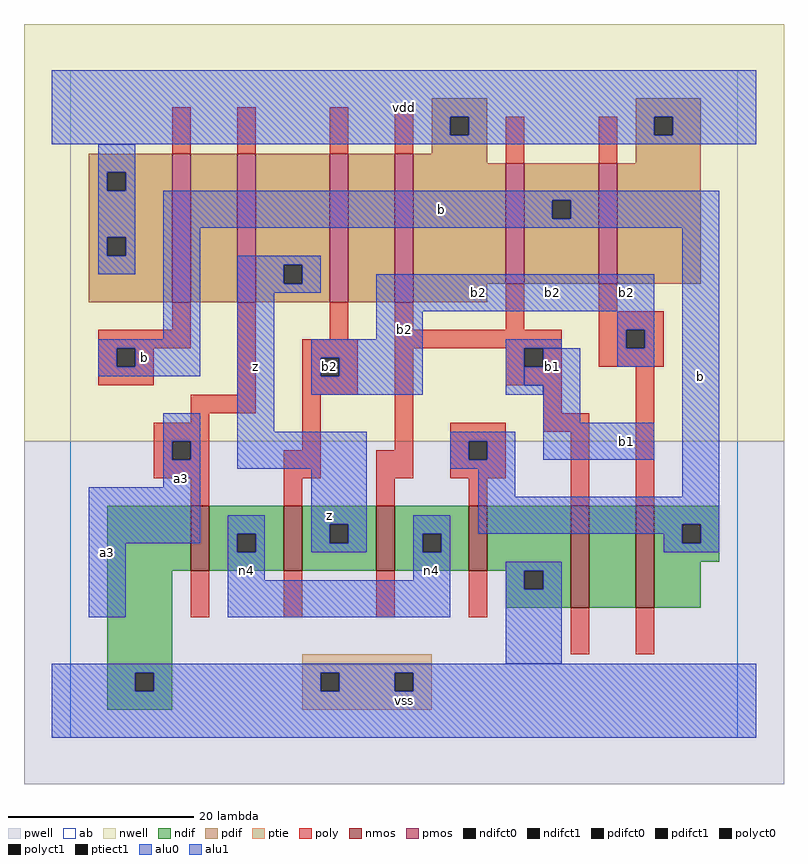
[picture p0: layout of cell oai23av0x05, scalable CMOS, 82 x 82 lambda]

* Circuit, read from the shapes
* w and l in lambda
.subckt oai23av0x05 a3 b b1 b2 n4 vdd vss z
M1 n4 a3 vss vss nfet w=7 l=2
M2 z b2 n4 vss nfet w=7 l=2
M3 n4 b1 z vss nfet w=7 l=2
M4 vss b n4 vss nfet w=7 l=2
M5 n1 b1 vss vss nfet w=11 l=2
M6 b b2 n1 vss nfet w=11 l=2
M7 n2 b vdd n3 pfet w=16 l=2
M8 z a3 n2 n3 pfet w=16 l=2
M9 n5 b2 z n3 pfet w=16 l=2
M10 vdd b1 n5 n3 pfet w=16 l=2
M11 b b1 vdd n3 pfet w=13 l=2
M12 vdd b2 b n3 pfet w=13 l=2
.ends

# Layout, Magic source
magic
tech scmos
<< ab >>
rect 0 0 72 72
<< nwell >>
rect -5 32 77 77
<< pwell >>
rect -5 -5 77 32
<< poly >>
rect 11 63 13 68
rect 18 63 20 68
rect 28 63 30 68
rect 35 63 37 68
rect 47 62 49 67
rect 57 62 59 67
rect 11 44 13 47
rect 3 42 13 44
rect 3 40 5 42
rect 7 40 9 42
rect 3 38 9 40
rect 18 37 20 47
rect 28 43 30 47
rect 35 44 37 47
rect 47 44 49 49
rect 57 46 59 49
rect 57 44 64 46
rect 13 35 20 37
rect 25 41 31 43
rect 25 39 27 41
rect 29 39 31 41
rect 25 37 31 39
rect 35 42 53 44
rect 13 34 15 35
rect 9 32 15 34
rect 9 30 11 32
rect 13 30 15 32
rect 25 31 27 37
rect 35 31 37 42
rect 47 40 49 42
rect 51 40 53 42
rect 57 42 60 44
rect 62 42 64 44
rect 57 40 64 42
rect 47 38 53 40
rect 51 35 53 38
rect 9 28 15 30
rect 13 25 15 28
rect 23 28 27 31
rect 33 28 37 31
rect 41 32 47 34
rect 51 33 56 35
rect 41 30 43 32
rect 45 30 47 32
rect 41 28 47 30
rect 23 25 25 28
rect 33 25 35 28
rect 43 25 45 28
rect 54 25 56 33
rect 61 25 63 40
rect 13 13 15 18
rect 23 13 25 18
rect 33 13 35 18
rect 43 13 45 18
rect 54 9 56 14
rect 61 9 63 14
<< ndif >>
rect 4 18 13 25
rect 15 22 23 25
rect 15 20 18 22
rect 20 20 23 22
rect 15 18 23 20
rect 25 23 33 25
rect 25 21 28 23
rect 30 21 33 23
rect 25 18 33 21
rect 35 22 43 25
rect 35 20 38 22
rect 40 20 43 22
rect 35 18 43 20
rect 45 18 54 25
rect 4 7 11 18
rect 47 16 49 18
rect 51 16 54 18
rect 47 14 54 16
rect 56 14 61 25
rect 63 23 70 25
rect 63 21 66 23
rect 68 21 70 23
rect 63 19 70 21
rect 63 14 68 19
rect 4 5 7 7
rect 9 5 11 7
rect 4 3 11 5
<< pdif >>
rect 39 67 45 69
rect 61 67 68 69
rect 39 65 41 67
rect 43 65 45 67
rect 39 63 45 65
rect 2 61 11 63
rect 2 59 4 61
rect 6 59 11 61
rect 2 54 11 59
rect 2 52 4 54
rect 6 52 11 54
rect 2 47 11 52
rect 13 47 18 63
rect 20 51 28 63
rect 20 49 23 51
rect 25 49 28 51
rect 20 47 28 49
rect 30 47 35 63
rect 37 62 45 63
rect 61 65 63 67
rect 65 65 68 67
rect 61 62 68 65
rect 37 49 47 62
rect 49 58 57 62
rect 49 56 52 58
rect 54 56 57 58
rect 49 49 57 56
rect 59 49 68 62
rect 37 47 45 49
<< alu1 >>
rect -2 67 74 72
rect -2 65 41 67
rect 43 65 63 67
rect 65 65 74 67
rect -2 64 74 65
rect 18 51 27 52
rect 18 49 23 51
rect 25 49 27 51
rect 18 48 27 49
rect 10 32 14 35
rect 10 30 11 32
rect 13 30 14 32
rect 10 27 14 30
rect 18 33 22 48
rect 33 46 63 50
rect 33 43 38 46
rect 59 44 63 46
rect 26 41 38 43
rect 26 39 27 41
rect 29 39 38 41
rect 26 37 38 39
rect 59 42 60 44
rect 62 42 63 44
rect 51 40 55 42
rect 59 40 63 42
rect 49 38 55 40
rect 51 34 55 38
rect 18 29 32 33
rect 51 30 63 34
rect 2 21 14 27
rect 2 13 6 21
rect 26 23 32 29
rect 26 21 28 23
rect 30 21 32 23
rect 26 20 32 21
rect -2 7 74 8
rect -2 5 7 7
rect 9 5 27 7
rect 29 5 35 7
rect 37 5 74 7
rect -2 0 74 5
<< ptie >>
rect 25 7 39 9
rect 25 5 27 7
rect 29 5 35 7
rect 37 5 39 7
rect 25 3 39 5
<< nmos >>
rect 13 18 15 25
rect 23 18 25 25
rect 33 18 35 25
rect 43 18 45 25
rect 54 14 56 25
rect 61 14 63 25
<< pmos >>
rect 11 47 13 63
rect 18 47 20 63
rect 28 47 30 63
rect 35 47 37 63
rect 47 49 49 62
rect 57 49 59 62
<< polyct0 >>
rect 5 40 7 42
rect 43 30 45 32
<< polyct1 >>
rect 27 39 29 41
rect 11 30 13 32
rect 49 40 51 42
rect 60 42 62 44
<< ndifct0 >>
rect 18 20 20 22
rect 38 20 40 22
rect 49 16 51 18
rect 66 21 68 23
<< ndifct1 >>
rect 28 21 30 23
rect 7 5 9 7
<< ptiect1 >>
rect 27 5 29 7
rect 35 5 37 7
<< pdifct0 >>
rect 4 59 6 61
rect 4 52 6 54
rect 52 56 54 58
<< pdifct1 >>
rect 41 65 43 67
rect 23 49 25 51
rect 63 65 65 67
<< alu0 >>
rect 3 61 7 64
rect 3 59 4 61
rect 6 59 7 61
rect 3 54 7 59
rect 3 52 4 54
rect 6 52 7 54
rect 3 50 7 52
rect 10 58 70 59
rect 10 56 52 58
rect 54 56 70 58
rect 10 55 70 56
rect 10 43 14 55
rect 3 42 14 43
rect 3 40 5 42
rect 7 40 14 42
rect 3 39 14 40
rect 47 42 53 43
rect 47 38 49 42
rect 47 37 51 38
rect 41 32 48 33
rect 41 30 43 32
rect 45 30 48 32
rect 41 29 48 30
rect 17 22 21 24
rect 17 20 18 22
rect 20 20 21 22
rect 44 26 48 29
rect 66 26 70 55
rect 37 22 41 24
rect 44 23 70 26
rect 44 22 66 23
rect 37 20 38 22
rect 40 20 41 22
rect 64 21 66 22
rect 68 21 70 23
rect 64 20 70 21
rect 17 17 21 20
rect 37 17 41 20
rect 17 13 41 17
rect 47 18 53 19
rect 47 16 49 18
rect 51 16 53 18
rect 47 8 53 16
<< labels >>
rlabel alu0 8 41 8 41 6 b
rlabel alu0 19 18 19 18 6 n4
rlabel alu0 39 18 39 18 6 n4
rlabel alu0 40 57 40 57 6 b
rlabel alu0 68 39 68 39 6 b
rlabel alu1 4 20 4 20 6 a3
rlabel alu1 12 28 12 28 6 a3
rlabel alu1 28 24 28 24 6 z
rlabel polyct1 28 40 28 40 6 b2
rlabel alu1 20 40 20 40 6 z
rlabel alu1 36 4 36 4 6 vss
rlabel alu1 52 40 52 40 6 b1
rlabel alu1 36 44 36 44 6 b2
rlabel alu1 52 48 52 48 6 b2
rlabel alu1 44 48 44 48 6 b2
rlabel alu1 36 68 36 68 6 vdd
rlabel alu1 60 32 60 32 6 b1
rlabel alu1 60 48 60 48 6 b2
<< end >>
